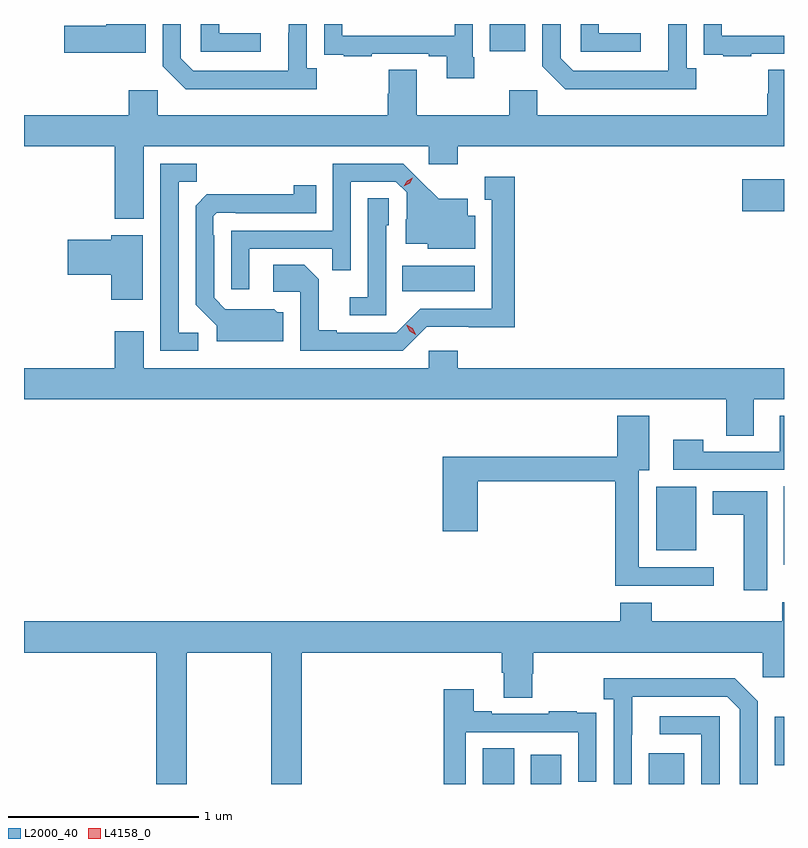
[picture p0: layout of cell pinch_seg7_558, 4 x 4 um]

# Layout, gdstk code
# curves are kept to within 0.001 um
import gdstk
lib = gdstk.Library(unit=1e-6, precision=1e-09)
def R(c, l, rs):  # rectangles x0, y0, x1, y1
    for r in rs: c.add(gdstk.rectangle(r[:2], r[2:], *l))
def P(c, l, *ps):  # polygons
    for p in ps: c.add(gdstk.Polygon(p, *l))
L2000_40 = (2000, 40)
L4158_0 = (4158, 0)

pinch_seg7_558 = lib.new_cell('pinch_seg7_558')
R(pinch_seg7_558, L2000_40, [(138.68,1046.544,138.844,1046.732), (138.932,1046.544,139.093,1046.698), (139.553,1046.544,139.741,1046.707), (140.216,1046.642,140.265,1046.899), (140.264,1047.697,140.265,1048.112), (139.592,1047.773,139.804,1048.108), (138.256,1049.138,138.637,1049.272), (140.046,1049.558,140.265,1049.728), (138.716,1050.401,138.904,1050.544)])
P(pinch_seg7_558, L2000_40, [(136.906,1050.544),(136.699,1050.544),(136.699,1050.536),(136.476,1050.536),(136.476,1050.394),(136.906,1050.394)],
  [(138.636,1050.37),(138.627,1050.37),(138.627,1050.544),(138.531,1050.544),(138.531,1050.483),(137.94,1050.483),(137.94,1050.544),(137.844,1050.544),(137.844,1050.49),(137.845,1050.49),(137.845,1050.381),(137.947,1050.381),(137.947,1050.375),(138.095,1050.375),(138.095,1050.387),(138.395,1050.387),(138.395,1050.375),(138.491,1050.375),(138.491,1050.258),(138.636,1050.258)],
  [(140.093,1050.387),(140.265,1050.387),(140.265,1050.483),(139.938,1050.483),(139.938,1050.544),(139.842,1050.544),(139.842,1050.49),(139.843,1050.49),(139.843,1050.381),(139.945,1050.381),(139.945,1050.375),(140.093,1050.375)],
  [(139.804,1050.31),(139.752,1050.31),(139.752,1050.544),(139.656,1050.544),(139.655,1050.297),(139.155,1050.297),(139.089,1050.363),(139.089,1050.544),(138.993,1050.544),(138.993,1050.321),(139.114,1050.2),(139.804,1050.2)],
  [(137.806,1050.31),(137.754,1050.31),(137.754,1050.544),(137.658,1050.544),(137.657,1050.297),(137.157,1050.297),(137.091,1050.363),(137.091,1050.544),(136.995,1050.544),(136.995,1050.321),(137.116,1050.2),(137.806,1050.2)],
  [(137.512,1050.495),(137.292,1050.495),(137.292,1050.544),(137.196,1050.544),(137.196,1050.399),(137.512,1050.399)],
  [(139.51,1050.495),(139.29,1050.495),(139.29,1050.544),(139.194,1050.544),(139.194,1050.399),(139.51,1050.399)],
  [(136.894,1049.9),(138.396,1049.9),(138.396,1049.805),(138.548,1049.805),(138.548,1049.9),(140.265,1049.9),(140.265,1050.302),(140.182,1050.302),(140.182,1050.177),(140.177,1050.177),(140.177,1050.064),(138.966,1050.064),(138.966,1050.196),(138.82,1050.196),(138.82,1050.064),(138.331,1050.064),(138.331,1050.302),(138.184,1050.302),(138.184,1050.177),(138.179,1050.177),(138.179,1050.064),(136.968,1050.064),(136.968,1050.196),(136.817,1050.196),(136.817,1050.064),(136.265,1050.064),(136.265,1049.9),(136.742,1049.9),(136.742,1049.52),(136.894,1049.52)],
  [(137.451,1049.361),(137.887,1049.361),(137.887,1049.248),(137.985,1049.248),(137.985,1049.715),(138.222,1049.715),(138.279,1049.658),(138.279,1049.516),(138.275,1049.516),(138.275,1049.387),(138.39,1049.387),(138.39,1049.36),(138.64,1049.36),(138.64,1049.536),(138.601,1049.536),(138.601,1049.623),(138.449,1049.623),(138.262,1049.808),(137.889,1049.808),(137.889,1049.457),(137.355,1049.457),(137.355,1049.148),(137.451,1049.148)],
  [(137.182,1048.92),(137.079,1048.92),(137.079,1049.713),(137.175,1049.713),(137.175,1049.808),(136.983,1049.808),(136.983,1048.824),(137.182,1048.824)],
  [(138.384,1048.95),(138.847,1048.949),(138.847,1049.74),(138.689,1049.74),(138.689,1049.619),(138.728,1049.619),(138.728,1049.046),(138.351,1049.046),(138.225,1048.92),(137.911,1048.92),(137.911,1048.933),(137.817,1048.933),(137.817,1049.2),(137.741,1049.276),(137.577,1049.276),(137.577,1049.136),(137.718,1049.136),(137.718,1048.824),(138.258,1048.824)],
  [(137.629,1049.028),(137.598,1049.028),(137.582,1049.044),(137.325,1049.043),(137.265,1049.103),(137.265,1049.432),(137.262,1049.432),(137.262,1049.532),(137.28,1049.55),(137.38,1049.55),(137.38,1049.547),(137.804,1049.547),(137.804,1049.695),(137.686,1049.695),(137.686,1049.648),(137.228,1049.647),(137.169,1049.588),(137.169,1049.066),(137.279,1048.956),(137.279,1048.874),(137.629,1048.874)],
  [(138.171,1049.484),(138.186,1049.484),(138.186,1049.627),(138.075,1049.627),(138.075,1049.107),(137.979,1049.107),(137.979,1049.01),(138.171,1049.01)],
  [(136.891,1049.431),(136.724,1049.431),(136.724,1049.408),(136.494,1049.408),(136.494,1049.225),(136.724,1049.225),(136.724,1049.094),(136.891,1049.094)],
  [(140.107,1048.568),(140.265,1048.568),(140.265,1048.732),(138.548,1048.732),(138.548,1048.825),(138.396,1048.825),(138.396,1048.732),(136.894,1048.732),(136.894,1048.927),(136.742,1048.927),(136.742,1048.732),(136.265,1048.732),(136.265,1048.568),(139.96,1048.568),(139.96,1048.378),(140.107,1048.378)],
  [(139.894,1047.684),(139.501,1047.684),(139.501,1048.196),(139.555,1048.196),(139.555,1048.483),(139.388,1048.483),(139.388,1048.267),(138.47,1048.267),(138.47,1047.873),(138.653,1047.873),(138.653,1048.138),(139.376,1048.138),(139.376,1047.587),(139.894,1047.587)],
  [(140.265,1048.483),(140.243,1048.483),(140.243,1048.293),(139.839,1048.293),(139.839,1048.357),(139.683,1048.357),(139.683,1048.197),(140.265,1048.197)],
  [(140.176,1048.084),(139.889,1048.084),(139.889,1047.962),(140.054,1047.962),(140.054,1047.564),(140.176,1047.564)],
  [(136.265,1047.236),(136.961,1047.236),(136.961,1046.544),(137.121,1046.544),(137.121,1047.236),(137.566,1047.236),(137.566,1046.544),(137.726,1046.544),(137.726,1047.236),(138.779,1047.236),(138.779,1047.13),(138.791,1047.13),(138.791,1046.998),(138.939,1046.998),(138.939,1047.123),(138.944,1047.123),(138.944,1047.236),(140.154,1047.236),(140.154,1047.105),(140.265,1047.105),(140.265,1047.501),(140.255,1047.501),(140.255,1047.4),(139.568,1047.4),(139.568,1047.499),(139.403,1047.499),(139.403,1047.4),(136.265,1047.4)],
  [(139.464,1046.803),(139.465,1047.003),(139.965,1047.003),(140.031,1046.937),(140.031,1046.544),(140.127,1046.544),(140.127,1046.979),(140.006,1047.1),(139.317,1047.1),(139.317,1046.99),(139.368,1046.99),(139.368,1046.544),(139.464,1046.544)],
  [(138.591,1046.817),(139.182,1046.817),(139.182,1046.555),(139.278,1046.555),(139.278,1046.81),(139.277,1046.81),(139.277,1046.919),(139.175,1046.919),(139.175,1046.926),(139.027,1046.926),(139.027,1046.913),(138.727,1046.913),(138.727,1046.926),(138.631,1046.926),(138.631,1047.043),(138.475,1047.043),(138.475,1046.544),(138.591,1046.544)],
  [(139.926,1046.901),(139.611,1046.901),(139.611,1046.805),(139.83,1046.805),(139.83,1046.544),(139.926,1046.544)])
P(pinch_seg7_558, L4158_0, [(138.328,1048.909),(138.296,1048.927),(138.278,1048.96),(138.278,1048.96),(138.278,1048.96),(138.31,1048.942),(138.328,1048.909),(138.328,1048.909)],
  [(138.263,1049.69),(138.263,1049.69),(138.281,1049.72),(138.311,1049.735),(138.312,1049.735),(138.312,1049.735),(138.294,1049.705),(138.264,1049.69)])

lib.write_gds('pinch_seg7_558.gds')
